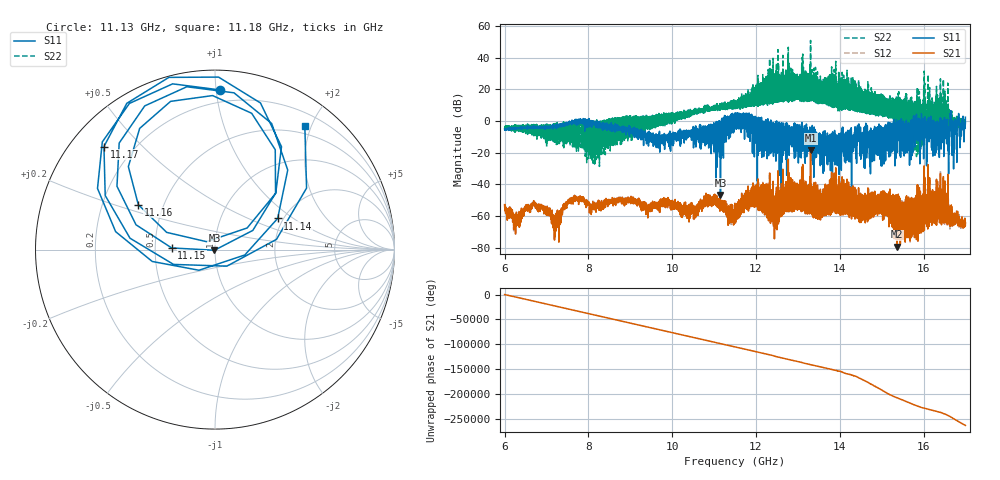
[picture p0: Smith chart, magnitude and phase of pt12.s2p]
#  HZ  S  RI  R  50.00
! Rohde & Schwarz Vector Network Analyzer
! Rohde-Schwarz,ZNA67-2Port,1332450062101215,3.01
! Created: UTC 10/15/2026, 1:52:41 PM
! freq[Hz]  re:S11  im:S11  re:S21  im:S21  re:S12  im:S12  re:S22  im:S22
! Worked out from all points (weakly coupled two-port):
!   11001 points, 6 GHz to 17 GHz, reference 50 ohm
!   highest |S21| = -18.43 dB at 13.3 GHz (marker M1); lowest = -79.4 dB at 15.37 GHz (marker M2)
!   lowest |S11| = -46.7 dB at 11.15 GHz (marker M3), VSWR 1.01, Z = 49.7 - j0.353 ohm
!   |S11| at or under -10 dB: 9.829021 GHz to 9.869045 GHz (40.02 MHz wide, 0.406 % of centre); 13.65182 GHz to 13.70147 GHz (49.65 MHz wide, 0.363 % of centre); 13.71982 GHz to 13.76979 GHz (49.97 MHz wide, 0.364 % of centre) (the widest 3 of 481)
!   |S22| runs from -28.7 to 50.9 dB; largest |S21 - S12| = 0.0071
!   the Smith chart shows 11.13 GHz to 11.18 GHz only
!   S11 on the Smith chart (normalised r, x): 11.13 GHz: 0.12, +1.03; 11.14 GHz: 1.87, +0.77; 11.15 GHz: 0.61, +0.01; 11.16 GHz: 0.36, +0.24; 11.17 GHz: 0.10, +0.39; 11.18 GHz: 0.38, +1.90
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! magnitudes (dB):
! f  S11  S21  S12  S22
! 6 GHz  -5.3  -52.9  -52.9  -5.1
! 6.271 GHz  -5.2  -61.4  -61.4  -5.1
! 6.72 GHz  -4.7  -52.7  -52.6  -3.9
! 7.196 GHz  -3.7  -72.9  -73.5  -2.4
! 7.834 GHz  -0.5  -49.1  -48.9  -7.2
! 9.667 GHz  -10.5  -53.3  -53.3  -1.1
! 11.13 GHz  -1.0  -49.4  -49.7  10.9
! 11.14 GHz  -8.2  -54.7  -54.6  7.0
! 11.15 GHz  -12.3  -53.7  -53.5  8.5
! 11.15 GHz  -46.7  -54.4  -54.4  7.8
! 11.16 GHz  -6.1  -53.2  -53.0  9.2
! 11.17 GHz  -1.5  -55.5  -55.3  7.7
! 11.18 GHz  -1.4  -51.3  -51.4  9.3
! 11.5 GHz  4.6  -58.4  -58.3  9.3
! 11.96 GHz  -2.0  -49.7  -49.7  12.9
! 12.47 GHz  -0.4  -63.1  -62.2  14.9
! 12.73 GHz  -34.3  -56.2  -56.6  13.1
! 13.3 GHz  -13.2  -18.4  -17.9  50.9
! 13.33 GHz  -6.7  -55.3  -55.4  16.1
! 15.17 GHz  -9.6  -54.3  -53.9  8.6
! 15.37 GHz  -10.0  -79.4  -80.0  -0.2
! 17 GHz  2.4  -65.7  -65.3  -0.3
